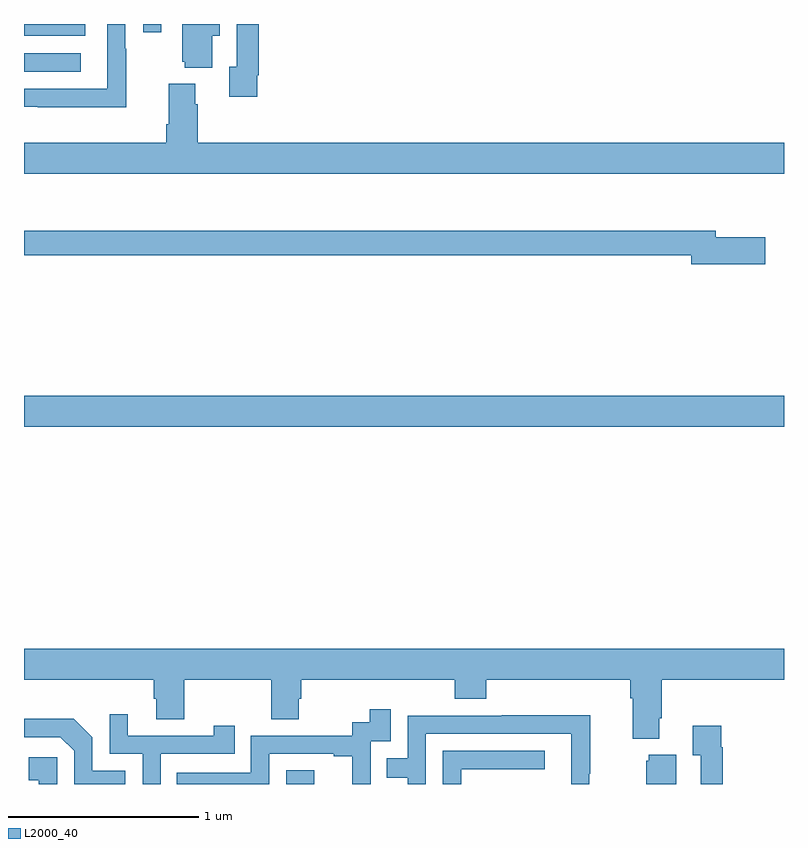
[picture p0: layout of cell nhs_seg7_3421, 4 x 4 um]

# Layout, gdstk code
import gdstk
lib = gdstk.Library(unit=1e-6, precision=1e-09)
def R(c, l, rs):  # rectangles x0, y0, x1, y1
    for r in rs: c.add(gdstk.rectangle(r[:2], r[2:], *l))
def P(c, l, *ps):  # polygons
    for p in ps: c.add(gdstk.Polygon(p, *l))
L2000_40 = (2000, 40)

nhs_seg7_3421 = lib.new_cell('nhs_seg7_3421')
R(nhs_seg7_3421, L2000_40, [(328.38,1068,328.528,1068.073), (327,1069.88,331,1070.044), (327,1071.75,327.298,1071.846), (327,1071.938,327.322,1072), (327.627,1071.957,327.723,1072)])
P(nhs_seg7_3421, L2000_40, [(328.228,1071.73),(328.235,1071.73),(328.235,1072),(328.119,1072),(328.119,1071.774),(328.079,1071.774),(328.079,1071.618),(328.228,1071.618)],
  [(327.537,1071.869),(327.534,1071.869),(327.534,1072),(327.438,1072),(327.438,1071.66),(327,1071.66),(327,1071.564),(327.073,1071.564),(327.073,1071.563),(327.537,1071.563)],
  [(327.991,1071.938),(328.03,1071.938),(328.03,1072),(327.833,1072),(327.833,1071.801),(327.845,1071.801),(327.845,1071.77),(327.991,1071.77)],
  [(331,1071.376),(327.914,1071.376),(327.914,1071.578),(327.901,1071.578),(327.901,1071.685),(327.761,1071.685),(327.761,1071.472),(327.749,1071.472),(327.749,1071.376),(327,1071.376),(327,1071.212),(331,1071.212)],
  [(330.901,1070.877),(330.64,1070.877),(330.64,1070.911),(327,1070.911),(327,1070.782),(330.512,1070.782),(330.512,1070.735),(330.901,1070.735)],
  [(327,1068.548),(327.683,1068.548),(327.683,1068.45),(327.695,1068.45),(327.695,1068.34),(327.843,1068.34),(327.843,1068.548),(328.3,1068.548),(328.3,1068.34),(328.447,1068.34),(328.447,1068.45),(328.46,1068.45),(328.46,1068.548),(329.267,1068.548),(329.267,1068.449),(329.432,1068.449),(329.432,1068.548),(330.191,1068.548),(330.191,1068.452),(330.203,1068.452),(330.203,1068.239),(330.343,1068.239),(330.343,1068.346),(330.356,1068.346),(330.356,1068.548),(331,1068.548),(331,1068.712),(327,1068.712)],
  [(328.29,1068.159),(328.631,1068.159),(328.631,1068.147),(328.727,1068.147),(328.727,1068),(328.824,1068),(328.824,1068.225),(328.929,1068.225),(328.929,1068.394),(328.821,1068.394),(328.821,1068.324),(328.728,1068.324),(328.728,1068.255),(328.194,1068.255),(328.194,1068.06),(327.805,1068.06),(327.805,1068),(328.29,1068)],
  [(327.72,1068.159),(328.109,1068.159),(328.109,1068.307),(327.998,1068.307),(327.998,1068.255),(327.547,1068.255),(327.547,1068.367),(327.45,1068.367),(327.45,1068.159),(327.624,1068.159),(327.624,1068),(327.72,1068)],
  [(329.115,1068.264),(329.88,1068.264),(329.88,1068),(329.976,1068),(329.976,1068.055),(329.979,1068.055),(329.979,1068.362),(329.515,1068.362),(329.515,1068.36),(329.019,1068.36),(329.019,1068.135),(328.909,1068.135),(328.909,1068.034),(329.019,1068.034),(329.019,1068),(329.115,1068)],
  [(327.534,1068.069),(327.36,1068.069),(327.36,1068.246),(327.262,1068.344),(327,1068.344),(327,1068.246),(327.192,1068.246),(327.264,1068.174),(327.264,1068),(327.534,1068)],
  [(330.677,1068.194),(330.67,1068.194),(330.67,1068.307),(330.521,1068.307),(330.521,1068.151),(330.561,1068.151),(330.561,1068),(330.677,1068)],
  [(329.301,1068.078),(329.74,1068.078),(329.74,1068.174),(329.205,1068.174),(329.205,1068),(329.301,1068)],
  [(330.433,1068.154),(330.287,1068.154),(330.287,1068.123),(330.275,1068.123),(330.275,1068),(330.433,1068)],
  [(327.174,1068.142),(327.024,1068.142),(327.024,1068.021),(327.077,1068.021),(327.077,1068),(327.174,1068)])

lib.write_gds('nhs_seg7_3421.gds')
